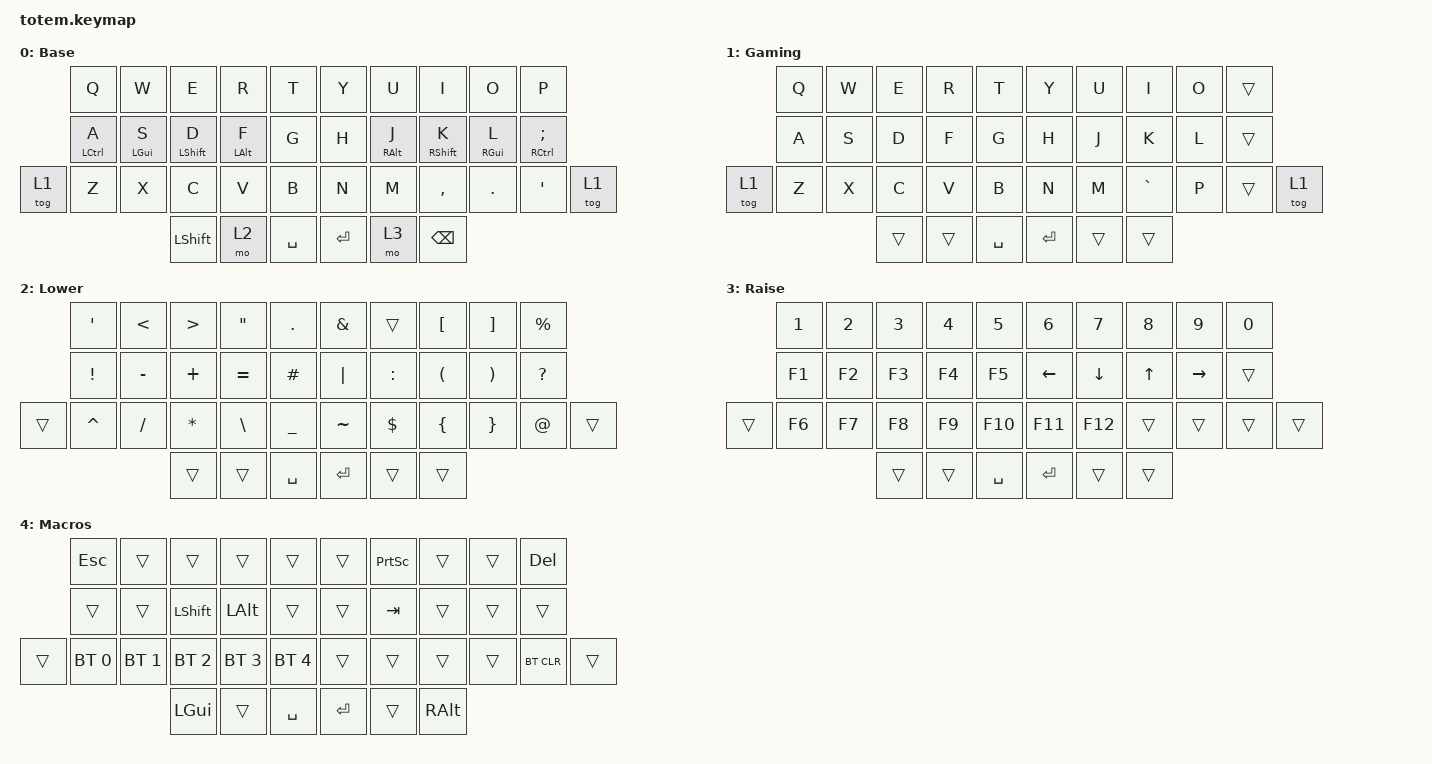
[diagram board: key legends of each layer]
//
//                                                        ▀▀▀▀▀     ▀▀▀▀▀          ▀▀█▀▀
//                                                        ▄▀▀▀▄  ▄  ▄▀▀▀▄  ▄  ▄▀▀▀▄  █  ▄▀▀▀▄
//                                                        █   █  █  █   █  █  █   █  █  █   █
//                                                         ▀▀▀   █   ▀▀▀   █   ▀▀▀   ▀   ▀▀▀
//                                                               █      ▄▄▄█▄▄▄    █   █  
//                                                               ▀      █  █  █     █▄█
//                                                             ▀▀▀▀▀    █  █  █      ▀
//                                                                      ▀  ▀  ▀
//
// ▄▄▄▄▄▄▄▄▄▄▄▄▄▄▄▄▄▄▄▄▄▄▄▄▄▄▄▄▄▄▄▄▄▄▄▄▄▄▄▄▄▄▄▄▄▄▄▄▄▄▄▄▄▄▄▄▄▄▄▄▄▄▄▄▄▄▄▄▄▄▄▄▄▄▄▄▄▄▄▄▄▄▄▄▄▄▄▄▄▄▄▄▄▄▄▄▄▄▄▄▄▄▄▄▄▄▄▄▄▄▄▄▄▄▄▄▄▄▄▄▄▄▄▄▄▄▄▄▄▄▄▄▄▄▄▄▄▄▄▄▄▄▄▄▄▄▄▄▄
       

/*
 * Copyright (c) 2020 The ZMK Contributors
 *
 * SPDX-License-Identifier: MIT
 */

#include <behaviors.dtsi>
#include <dt-bindings/zmk/bt.h>
#include <dt-bindings/zmk/keys.h>

/ {
    behaviors {
        hm: homerow_mods {
            compatible = "zmk,behavior-hold-tap";
            #binding-cells = <2>;
            tapping-term-ms = <200>;
            quick-tap-ms = <200>;
            require-prior-idle-ms = <200>;
            flavor = "tap-preferred";
            bindings = <&kp>, <&kp>;
        };
    };

    combos {
        compatible = "zmk,combos";

        macroLayer {
            bindings = <&mo 4>;
            key-positions = <30 32>;
        };
    };

    keymap {
        compatible = "zmk,keymap";

        default_layer {
            display-name = "Base";
            bindings = <
//             ┏━━━━━━━━━━━┳━━━━━━━━━━━┳━━━━━━━━━━━┳━━━━━━━━━━━┳━━━━━━━━━━━┓   ┏━━━━━━━━━━━┳━━━━━━━━━━━┳━━━━━━━━━━━┳━━━━━━━━━━━┳━━━━━━━━━━━┓
//             ┃     Q     ┃     W     ┃     E     ┃     R     ┃     T     ┃   ┃     Y     ┃     U     ┃     I     ┃     O     ┃     P     ┃
//             ┣━━━━━━━━━━━╋━━━━━━━━━━━╋━━━━━━━━━━━╋━━━━━━━━━━━╋━━━━━━━━━━━┫   ┣━━━━━━━━━━━╋━━━━━━━━━━━╋━━━━━━━━━━━╋━━━━━━━━━━━╋━━━━━━━━━━━┫
//             ┃   CTL-A   ┃   GUI-S   ┃   SFT-D   ┃   ALT-F   ┃     G     ┃   ┃     H     ┃   ALT-J   ┃   SFT-K   ┃   GUI-L   ┃   CTL-;   ┃
// ┏━━━━━━━━━━━╋━━━━━━━━━━━╋━━━━━━━━━━━╋━━━━━━━━━━━╋━━━━━━━━━━━╋━━━━━━━━━━━┫   ┣━━━━━━━━━━━╋━━━━━━━━━━━╋━━━━━━━━━━━╋━━━━━━━━━━━╋━━━━━━━━━━━╋━━━━━━━━━━━┓
// ┃   TOGGL   ┃     Z     ┃     X     ┃     C     ┃     V     ┃     B     ┃   ┃     N     ┃     M     ┃     ,     ┃     .     ┃     '     ┃   TOGGL   ┃
// ┗━━━━━━━━━━━┻━━━━━━━━━━━┻━━━━━━━━━━━╋━━━━━━━━━━━╋━━━━━━━━━━━╋━━━━━━━━━━━┫   ┣━━━━━━━━━━━╋━━━━━━━━━━━╋━━━━━━━━━━━╋━━━━━━━━━━━┻━━━━━━━━━━━┻━━━━━━━━━━━┛
//                                     ┃   SHIFT   ┃   LOWER   ┃   SPACE   ┃   ┃   ENTER   ┃   RAISE   ┃   BSPC    ┃
//                                     ┗━━━━━━━━━━━┻━━━━━━━━━━━┻━━━━━━━━━━━┛   ┗━━━━━━━━━━━┻━━━━━━━━━━━┻━━━━━━━━━━━┛

                &kp Q        &kp W       &kp E           &kp R       &kp T           &kp Y     &kp U       &kp I          &kp O       &kp P
                &hm LCTRL A  &hm LGUI S  &hm LSHFT D     &hm LALT F  &kp G           &kp H     &hm RALT J  &hm RSHFT K    &hm RGUI L  &hm RCTRL SEMI
    &tog 1      &kp Z        &kp X       &kp C           &kp V       &kp B           &kp N     &kp M       &kp COMMA      &kp DOT     &kp APOSTROPHE  &tog 1
                                         &kp LEFT_SHIFT  &mo 2       &kp SPACE       &kp RET   &mo 3       &kp BACKSPACE
            >;
        };

        gaming {
            display-name = "Gaming";
            bindings = <
//             ┏━━━━━━━━━━━┳━━━━━━━━━━━┳━━━━━━━━━━━┳━━━━━━━━━━━┳━━━━━━━━━━━┓   ┏━━━━━━━━━━━┳━━━━━━━━━━━┳━━━━━━━━━━━┳━━━━━━━━━━━┳━━━━━━━━━━━┓
//             ┃     Q     ┃     W     ┃     E     ┃     R     ┃     T     ┃   ┃     Y     ┃     U     ┃     I     ┃     O     ┃           ┃
//             ┣━━━━━━━━━━━╋━━━━━━━━━━━╋━━━━━━━━━━━╋━━━━━━━━━━━╋━━━━━━━━━━━┫   ┣━━━━━━━━━━━╋━━━━━━━━━━━╋━━━━━━━━━━━╋━━━━━━━━━━━╋━━━━━━━━━━━┫
//             ┃     A     ┃     S     ┃     D     ┃     F     ┃     G     ┃   ┃     H     ┃     J     ┃     K     ┃     L     ┃           ┃
// ┏━━━━━━━━━━━╋━━━━━━━━━━━╋━━━━━━━━━━━╋━━━━━━━━━━━╋━━━━━━━━━━━╋━━━━━━━━━━━┫   ┣━━━━━━━━━━━╋━━━━━━━━━━━╋━━━━━━━━━━━╋━━━━━━━━━━━╋━━━━━━━━━━━╋━━━━━━━━━━━┓
// ┃   TOGGL   ┃     Z     ┃     X     ┃     C     ┃     V     ┃     B     ┃   ┃     N     ┃     M     ┃     `     ┃     P     ┃           ┃   TOGGL   ┃
// ┗━━━━━━━━━━━┻━━━━━━━━━━━┻━━━━━━━━━━━╋━━━━━━━━━━━╋━━━━━━━━━━━╋━━━━━━━━━━━┫   ┣━━━━━━━━━━━╋━━━━━━━━━━━╋━━━━━━━━━━━╋━━━━━━━━━━━┻━━━━━━━━━━━┻━━━━━━━━━━━┛
//                                     ┃           ┃           ┃   SPACE   ┃   ┃   ENTER   ┃           ┃           ┃
//                                     ┗━━━━━━━━━━━┻━━━━━━━━━━━┻━━━━━━━━━━━┛   ┗━━━━━━━━━━━┻━━━━━━━━━━━┻━━━━━━━━━━━┛

                &kp Q      &kp W  &kp E   &kp R   &kp T           &kp Y     &kp U   &kp I      &kp O  &trans
                &kp A      &kp S  &kp D   &kp F   &kp G           &kp H     &kp J   &kp K      &kp L  &trans
    &tog 1      &kp Z      &kp X  &kp C   &kp V   &kp B           &kp N     &kp M   &kp GRAVE  &kp P  &trans      &tog 1
                                  &trans  &trans  &kp SPACE       &kp RET   &trans  &trans
            >;
        };

        lower_layer {
            display-name = "Lower";
            bindings = <
//             ┏━━━━━━━━━━━┳━━━━━━━━━━━┳━━━━━━━━━━━┳━━━━━━━━━━━┳━━━━━━━━━━━┓   ┏━━━━━━━━━━━┳━━━━━━━━━━━┳━━━━━━━━━━━┳━━━━━━━━━━━┳━━━━━━━━━━━┓
//             ┃     '     ┃     <     ┃     >     ┃     "     ┃     .     ┃   ┃     &     ┃           ┃     [     ┃     ]     ┃     %     ┃
//             ┣━━━━━━━━━━━╋━━━━━━━━━━━╋━━━━━━━━━━━╋━━━━━━━━━━━╋━━━━━━━━━━━┫   ┣━━━━━━━━━━━╋━━━━━━━━━━━╋━━━━━━━━━━━╋━━━━━━━━━━━╋━━━━━━━━━━━┫
//             ┃     !     ┃     -     ┃     +     ┃     =     ┃     #     ┃   ┃     |     ┃     :     ┃     (     ┃     )     ┃     ?     ┃
// ┏━━━━━━━━━━━╋━━━━━━━━━━━╋━━━━━━━━━━━╋━━━━━━━━━━━╋━━━━━━━━━━━╋━━━━━━━━━━━┫   ┣━━━━━━━━━━━╋━━━━━━━━━━━╋━━━━━━━━━━━╋━━━━━━━━━━━╋━━━━━━━━━━━╋━━━━━━━━━━━┓
// ┃           ┃     ^     ┃     /     ┃     *     ┃     \     ┃     _     ┃   ┃     ~     ┃     $     ┃     {     ┃     }     ┃     @     ┃           ┃
// ┗━━━━━━━━━━━┻━━━━━━━━━━━┻━━━━━━━━━━━╋━━━━━━━━━━━╋━━━━━━━━━━━╋━━━━━━━━━━━┫   ┣━━━━━━━━━━━╋━━━━━━━━━━━╋━━━━━━━━━━━╋━━━━━━━━━━━┻━━━━━━━━━━━┻━━━━━━━━━━━┛
//                                     ┃           ┃           ┃   SPACE   ┃   ┃   ENTER   ┃           ┃           ┃
//                                     ┗━━━━━━━━━━━┻━━━━━━━━━━━┻━━━━━━━━━━━┛   ┗━━━━━━━━━━━┻━━━━━━━━━━━┻━━━━━━━━━━━┛

                &kp APOSTROPHE  &kp LESS_THAN  &kp GREATER_THAN  &kp DOUBLE_QUOTES  &kp PERIOD    &kp AMPS   &trans     &kp LEFT_BRACKET  &kp RIGHT_BRACKET  &kp PERCENT
                &kp EXCL        &kp MINUS      &kp PLUS          &kp EQUAL          &kp POUND     &kp PIPE   &kp COLON  &kp LPAR          &kp RPAR           &kp QMARK
    &trans      &kp CARET       &kp FSLH       &kp ASTRK         &kp BSLH           &kp UNDER     &kp TILDE  &kp DLLR   &kp LBRC          &kp RBRC           &kp AT       &trans
                                               &trans            &trans             &kp SPACE     &kp RET    &trans     &trans
            >;
        };

        raise_layer {
            display-name = "Raise";
            bindings = <
//             ┏━━━━━━━━━━━┳━━━━━━━━━━━┳━━━━━━━━━━━┳━━━━━━━━━━━┳━━━━━━━━━━━┓   ┏━━━━━━━━━━━┳━━━━━━━━━━━┳━━━━━━━━━━━┳━━━━━━━━━━━┳━━━━━━━━━━━┓
//             ┃     1     ┃     2     ┃     3     ┃     4     ┃     5     ┃   ┃     6     ┃     7     ┃     8     ┃     9     ┃     0     ┃
//             ┣━━━━━━━━━━━╋━━━━━━━━━━━╋━━━━━━━━━━━╋━━━━━━━━━━━╋━━━━━━━━━━━┫   ┣━━━━━━━━━━━╋━━━━━━━━━━━╋━━━━━━━━━━━╋━━━━━━━━━━━╋━━━━━━━━━━━┫
//             ┃    F1     ┃    F2     ┃    F3     ┃    F4     ┃    F5     ┃   ┃   LEFT    ┃   DOWN    ┃    UP     ┃   RIGHT   ┃           ┃
// ┏━━━━━━━━━━━╋━━━━━━━━━━━╋━━━━━━━━━━━╋━━━━━━━━━━━╋━━━━━━━━━━━╋━━━━━━━━━━━┫   ┣━━━━━━━━━━━╋━━━━━━━━━━━╋━━━━━━━━━━━╋━━━━━━━━━━━╋━━━━━━━━━━━╋━━━━━━━━━━━┓
// ┃           ┃    F6     ┃    F7     ┃    F8     ┃    F9     ┃    F10    ┃   ┃    F11    ┃    F12    ┃           ┃           ┃           ┃           ┃
// ┗━━━━━━━━━━━┻━━━━━━━━━━━┻━━━━━━━━━━━╋━━━━━━━━━━━╋━━━━━━━━━━━╋━━━━━━━━━━━┫   ┣━━━━━━━━━━━╋━━━━━━━━━━━╋━━━━━━━━━━━╋━━━━━━━━━━━┻━━━━━━━━━━━┻━━━━━━━━━━━┛
//                                     ┃           ┃           ┃   SPACE   ┃   ┃   ENTER   ┃           ┃           ┃
//                                     ┗━━━━━━━━━━━┻━━━━━━━━━━━┻━━━━━━━━━━━┛   ┗━━━━━━━━━━━┻━━━━━━━━━━━┻━━━━━━━━━━━┛

                &kp N1  &kp N2  &kp N3  &kp N4  &kp N5       &kp N6    &kp N7    &kp N8  &kp N9     &kp N0
                &kp F1  &kp F2  &kp F3  &kp F4  &kp F5       &kp LEFT  &kp DOWN  &kp UP  &kp RIGHT  &trans
    &trans      &kp F6  &kp F7  &kp F8  &kp F9  &kp F10      &kp F11   &kp F12   &trans  &trans     &trans  &trans
                                &trans  &trans  &kp SPACE    &kp RET   &trans    &trans
            >;
        };

        macros {
            display-name = "Macros";
            bindings = <
//             ┏━━━━━━━━━━━┳━━━━━━━━━━━┳━━━━━━━━━━━┳━━━━━━━━━━━┳━━━━━━━━━━━┓   ┏━━━━━━━━━━━┳━━━━━━━━━━━┳━━━━━━━━━━━┳━━━━━━━━━━━┳━━━━━━━━━━━┓
//             ┃    ESC    ┃           ┃           ┃           ┃           ┃   ┃           ┃   PRSC    ┃           ┃           ┃    DEL    ┃
//             ┣━━━━━━━━━━━╋━━━━━━━━━━━╋━━━━━━━━━━━╋━━━━━━━━━━━╋━━━━━━━━━━━┫   ┣━━━━━━━━━━━╋━━━━━━━━━━━╋━━━━━━━━━━━╋━━━━━━━━━━━╋━━━━━━━━━━━┫
//             ┃           ┃           ┃   SHIFT   ┃    ALT    ┃           ┃   ┃           ┃    TAB    ┃           ┃           ┃           ┃
// ┏━━━━━━━━━━━╋━━━━━━━━━━━╋━━━━━━━━━━━╋━━━━━━━━━━━╋━━━━━━━━━━━╋━━━━━━━━━━━┫   ┣━━━━━━━━━━━╋━━━━━━━━━━━╋━━━━━━━━━━━╋━━━━━━━━━━━╋━━━━━━━━━━━╋━━━━━━━━━━━┓
// ┃           ┃    BT1    ┃    BT2    ┃    BT3    ┃    BT4    ┃    BT5    ┃   ┃           ┃           ┃           ┃           ┃   BTCLR   ┃           ┃
// ┗━━━━━━━━━━━┻━━━━━━━━━━━┻━━━━━━━━━━━╋━━━━━━━━━━━╋━━━━━━━━━━━╋━━━━━━━━━━━┫   ┣━━━━━━━━━━━╋━━━━━━━━━━━╋━━━━━━━━━━━╋━━━━━━━━━━━┻━━━━━━━━━━━┻━━━━━━━━━━━┛
//                                     ┃    GUI    ┃           ┃   SPACE   ┃   ┃   ENTER   ┃           ┃    ALT    ┃
//                                     ┗━━━━━━━━━━━┻━━━━━━━━━━━┻━━━━━━━━━━━┛   ┗━━━━━━━━━━━┻━━━━━━━━━━━┻━━━━━━━━━━━┛

                &kp ESC       &trans        &trans        &trans        &trans          &trans   &kp PSCRN  &trans    &trans  &kp DEL
                &trans        &trans        &kp LSHFT     &kp LALT      &trans          &trans   &kp TAB    &trans    &trans  &trans
    &trans      &bt BT_SEL 0  &bt BT_SEL 1  &bt BT_SEL 2  &bt BT_SEL 3  &bt BT_SEL 4    &trans   &trans     &trans    &trans  &bt BT_CLR  &trans
                                            &kp LGUI      &trans        &kp SPACE       &kp RET  &trans     &kp RALT
            >;
        };
    };
};
